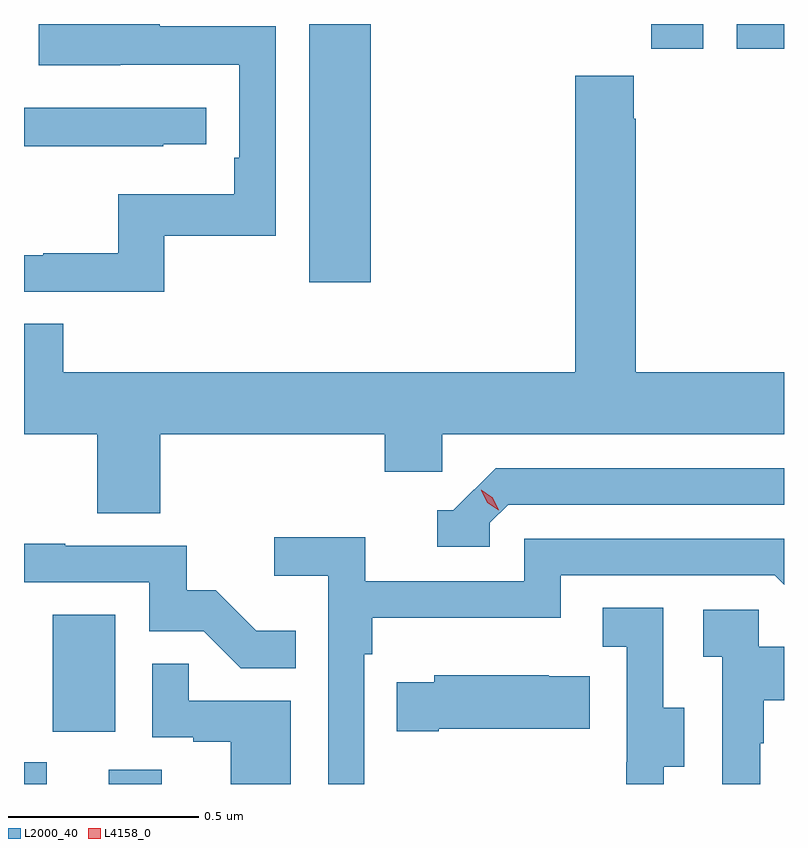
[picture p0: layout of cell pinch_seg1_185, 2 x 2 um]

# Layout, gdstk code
import gdstk
lib = gdstk.Library(unit=1e-6, precision=1e-09)
def R(c, l, rs):  # rectangles x0, y0, x1, y1
    for r in rs: c.add(gdstk.rectangle(r[:2], r[2:], *l))
def P(c, l, *ps):  # polygons
    for p in ps: c.add(gdstk.Polygon(p, *l))
L2000_40 = (2000, 40)
L4158_0 = (4158, 0)

pinch_seg1_185 = lib.new_cell('pinch_seg1_185')
R(pinch_seg1_185, L2000_40, [(1119.4,553.476,1119.46,553.533), (1119.623,553.476,1119.763,553.514), (1119.476,553.614,1119.64,553.921), (1120.151,554.796,1120.312,555.476), (1121.051,555.411,1121.188,555.476), (1121.276,555.411,1121.4,555.476)])
P(pinch_seg1_185, L2000_40, [(1119.769,554.919),(1120.062,554.919),(1120.062,555.47),(1119.757,555.47),(1119.757,555.476),(1119.439,555.476),(1119.439,555.368),(1119.653,555.368),(1119.653,555.369),(1119.966,555.369),(1119.966,555.124),(1119.953,555.124),(1119.953,555.028),(1119.648,555.028),(1119.648,554.873),(1119.451,554.873),(1119.451,554.868),(1119.4,554.868),(1119.4,554.772),(1119.769,554.772)],
  [(1119.758,554.396),(1120.349,554.396),(1120.349,554.298),(1120.5,554.298),(1120.5,554.396),(1121.4,554.396),(1121.4,554.56),(1121.01,554.56),(1121.01,555.227),(1121.005,555.227),(1121.005,555.34),(1120.85,555.34),(1120.85,554.56),(1119.503,554.56),(1119.503,554.687),(1119.4,554.687),(1119.4,554.396),(1119.593,554.396),(1119.593,554.188),(1119.758,554.188)],
  [(1119.767,555.159),(1119.88,555.159),(1119.88,555.255),(1119.4,555.255),(1119.4,555.154),(1119.767,555.154)],
  [(1120.626,554.163),(1120.674,554.211),(1121.4,554.211),(1121.4,554.307),(1120.641,554.307),(1120.53,554.196),(1120.487,554.196),(1120.487,554.1),(1120.626,554.1)],
  [(1120.296,553.817),(1120.316,553.817),(1120.316,553.913),(1120.812,553.913),(1120.812,554.025),(1121.376,554.025),(1121.4,554.001),(1121.4,554.121),(1120.716,554.121),(1120.716,554.01),(1120.298,554.01),(1120.298,554.126),(1120.059,554.126),(1120.059,554.024),(1120.2,554.024),(1120.2,553.476),(1120.296,553.476)],
  [(1120.115,553.879),(1120.011,553.879),(1119.904,553.986),(1119.828,553.986),(1119.828,554.103),(1119.509,554.103),(1119.509,554.108),(1119.4,554.108),(1119.4,554.007),(1119.729,554.007),(1119.729,553.878),(1119.873,553.878),(1119.971,553.78),(1120.115,553.78)],
  [(1121.083,553.522),(1121.137,553.522),(1121.137,553.677),(1121.082,553.677),(1121.082,553.94),(1120.923,553.94),(1120.923,553.837),(1120.986,553.837),(1120.986,553.533),(1120.985,553.533),(1120.985,553.476),(1121.083,553.476)],
  [(1121.337,553.583),(1121.347,553.583),(1121.347,553.697),(1121.4,553.697),(1121.4,553.837),(1121.334,553.837),(1121.334,553.935),(1121.187,553.935),(1121.187,553.811),(1121.238,553.811),(1121.238,553.476),(1121.337,553.476)],
  [(1120.102,553.695),(1119.833,553.695),(1119.833,553.793),(1119.738,553.793),(1119.738,553.599),(1119.845,553.599),(1119.845,553.587),(1119.944,553.587),(1119.944,553.476),(1120.102,553.476)],
  [(1120.492,553.622),(1120.889,553.622),(1120.889,553.759),(1120.781,553.759),(1120.781,553.762),(1120.479,553.762),(1120.479,553.744),(1120.381,553.744),(1120.381,553.615),(1120.492,553.615)])
P(pinch_seg1_185, L4158_0, [(1120.649,554.196),(1120.619,554.216),(1120.603,554.249),(1120.603,554.25),(1120.603,554.25),(1120.634,554.229),(1120.649,554.196),(1120.649,554.196)])

lib.write_gds('pinch_seg1_185.gds')
